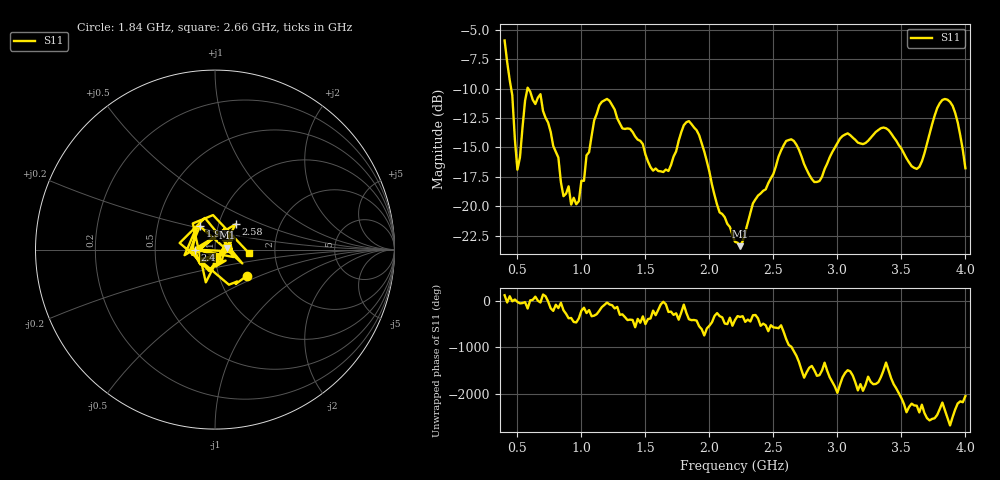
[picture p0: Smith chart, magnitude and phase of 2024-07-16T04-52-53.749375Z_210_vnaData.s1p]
!Created with skrf (http://scikit-rf.org).
# Hz S RI R 50.0
!freq ReS11 ImS11
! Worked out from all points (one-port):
!   181 points, 400 MHz to 4 GHz, reference 50 ohm
!   lowest |S11| = -23.4 dB at 2.24 GHz (marker M1), VSWR 1.15, Z = 57.1 + j1.31 ohm
!   |S11| at or under -10 dB: 451.2 MHz to 578.5 MHz (127.4 MHz wide, 24.7 % of centre); 584.8 MHz to end of sweep
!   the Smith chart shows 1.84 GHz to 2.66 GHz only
!   S11 on the Smith chart (normalised r, x): 1.84 GHz: 1.36, -0.42; 1.98 GHz: 0.82, +0.22; 2.4 GHz: 0.80, -0.00; 2.58 GHz: 1.20, +0.35; 2.66 GHz: 1.46, -0.06
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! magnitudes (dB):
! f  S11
! 400 MHz  -5.9
! 460 MHz  -10.6
! 500 MHz  -16.9
! 580 MHz  -9.9
! 680 MHz  -10.5
! 820 MHz  -15.9
! 860 MHz  -19.1
! 980 MHz  -19.6
! 1.16 GHz  -11.1
! 1.3 GHz  -13.0
! 1.56 GHz  -17.0
! 1.68 GHz  -17.0
! 1.76 GHz  -14.4
! 1.84 GHz  -12.8
! 1.98 GHz  -16.2
! 2.2 GHz  -23.0
! 2.24 GHz  -23.4
! 2.4 GHz  -18.9
! 2.58 GHz  -14.8
! 2.66 GHz  -14.4
! 2.84 GHz  -17.9
! 3.1 GHz  -13.9
! 3.38 GHz  -13.4
! 3.56 GHz  -16.3
! 3.64 GHz  -16.7
! 3.84 GHz  -10.9
! 3.92 GHz  -12.1
! 4 GHz  -16.8
